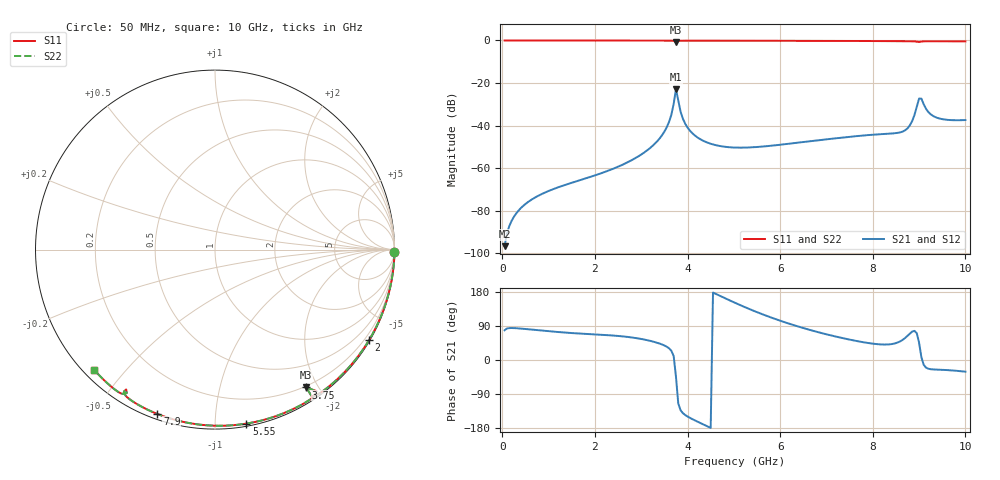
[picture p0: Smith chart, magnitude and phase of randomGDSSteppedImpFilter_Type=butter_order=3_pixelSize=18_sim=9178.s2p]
! freq	dB(S11)	phase(S11)	dB(S12)	phase(S12)
!  dB(S21)	phase(S21)	dB(S22)	phase(S22)
!S-par simulation data
#  GHz  S  DB  R 50
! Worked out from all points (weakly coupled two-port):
!   200 points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, 50 MHz to 10 GHz, reference 50 ohm
!   highest |S21| = -22.92 dB at 3.75 GHz (marker M1); lowest = -96.7 dB at 50 MHz (marker M2)
!   lowest |S11| = -0.7 dB at 3.75 GHz (marker M3), VSWR 24.22, Z = 9.15 - j92.3 ohm
!   |S11| at or under -10 dB: nowhere
!   |S22| runs from -0.7 to 0.0 dB; largest |S21 - S12| = 0
!   S11 on the Smith chart (normalised r, x): 50 MHz: open; 2 GHz: 0.03, -3.69; 3.75 GHz: 0.18, -1.85; 5.55 GHz: 0.02, -1.20; 7.9 GHz: 0.02, -0.71; 10 GHz: 0.03, -0.41
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0.05  -0.00 -0.8  -96.72 78.5  -96.72 78.5  -0.00 -0.8
0.35  -0.00 -5.4  -79.99 83.4  -79.99 83.4  -0.00 -5.4
0.85  -0.02 -13.1  -72.23 77.7  -72.23 77.7  -0.02 -13.1
1.75  -0.03 -26.6  -65.19 69.2  -65.19 69.2  -0.03 -26.6
2  -0.04 -30.4  -63.44 67.5  -63.44 67.5  -0.04 -30.4
2.9  -0.06 -43.6  -54.99 57.6  -54.99 57.6  -0.06 -43.6
3.4  -0.07 -51.0  -46.00 43.2  -46.00 43.2  -0.07 -51.0
3.6  -0.09 -54.2  -38.34 30.9  -38.34 30.9  -0.09 -54.2
3.75  -0.72 -56.5  -22.92 -43.7  -22.92 -43.7  -0.72 -56.5
3.9  -0.10 -56.9  -36.82 -140.2  -36.82 -140.2  -0.10 -56.9
4.1  -0.09 -60.1  -43.55 -155.8  -43.55 -155.8  -0.09 -60.1
4.5  -0.10 -65.7  -48.57 -179.2  -48.57 -179.2  -0.10 -65.7
5.05  -0.11 -73.2  -50.38 149.6  -50.38 149.6  -0.11 -73.2
5.55  -0.13 -79.8  -50.01 123.8  -50.01 123.8  -0.13 -79.8
6.7  -0.18 -94.5  -47.24 77.4  -47.24 77.4  -0.18 -94.5
7.9  -0.26 -109.3  -44.49 44.8  -44.49 44.8  -0.26 -109.3
8.35  -0.30 -114.8  -43.84 41.2  -43.84 41.2  -0.30 -114.8
8.75  -0.36 -119.9  -41.32 63.9  -41.32 63.9  -0.36 -119.9
8.85  -0.40 -121.3  -37.92 74.9  -37.92 74.9  -0.40 -121.3
9  -0.69 -122.4  -27.32 45.6  -27.32 45.6  -0.69 -122.4
9.35  -0.37 -126.4  -36.03 -25.2  -36.03 -25.2  -0.37 -126.4
10  -0.45 -135.1  -37.42 -30.8  -37.42 -30.8  -0.45 -135.1
